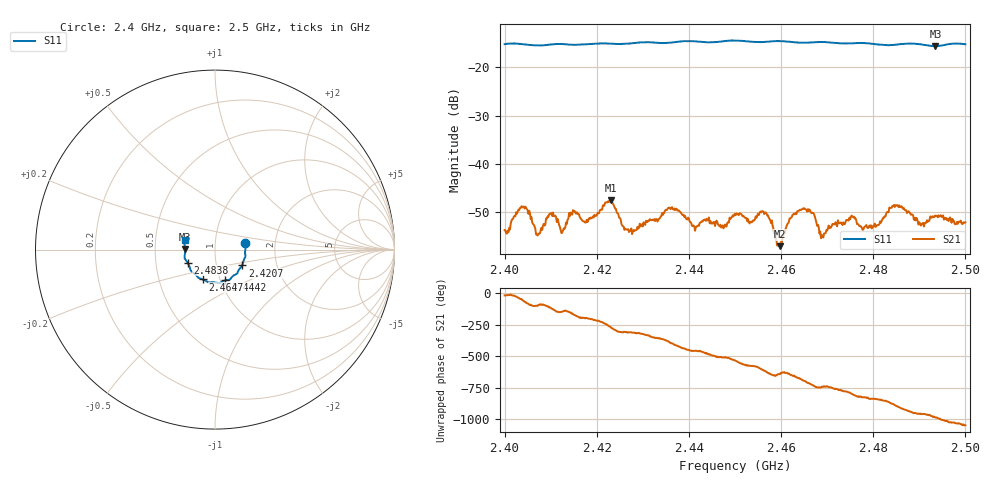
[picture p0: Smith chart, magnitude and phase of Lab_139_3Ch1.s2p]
# Hz S RI R 50
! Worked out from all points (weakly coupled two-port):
!   601 points, 2.4 GHz to 2.5 GHz, reference 50 ohm
!   highest |S21| = -47.58 dB at 2.423 GHz (marker M1); lowest = -57.1 dB at 2.4597 GHz (marker M2)
!   lowest |S11| = -15.6 dB at 2.4935 GHz (marker M3), VSWR 1.40, Z = 35.8 + j0.13 ohm
!   |S11| at or under -10 dB: start of sweep to end of sweep
!   S12 and S22 are empty: the file has one direction only
!   S11 on the Smith chart (normalised r, x): 2.4 GHz: 1.40, +0.11; 2.4207 GHz: 1.33, -0.24; 2.4442 GHz: 1.05, -0.37; 2.4647 GHz: 0.83, -0.29; 2.4838 GHz: 0.73, -0.11; 2.5 GHz: 0.71, +0.08
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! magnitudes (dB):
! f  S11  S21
! 2.4 GHz  -15.2  -53.7
! 2.404 GHz  -15.2  -48.8
! 2.4073 GHz  -15.5  -54.5
! 2.41 GHz  -15.3  -50.3
! 2.4125 GHz  -15.2  -54.2
! 2.4145 GHz  -15.3  -50.3
! 2.4167 GHz  -15.3  -51.5
! 2.4207 GHz  -15.1  -49.6
! 2.423 GHz  -15.1  -47.6
! 2.4265 GHz  -15.1  -53.6
! 2.4333 GHz  -15.0  -51.7
! 2.4442 GHz  -14.9  -51.6
! 2.45 GHz  -14.5  -50.4
! 2.4563 GHz  -14.8  -50.4
! 2.4597 GHz  -14.6  -57.1
! 2.4647 GHz  -14.9  -49.3
! 2.4667 GHz  -14.9  -50.2
! 2.4692 GHz  -14.8  -55.3
! 2.4833 GHz  -15.5  -50.1
! 2.4838 GHz  -15.4  -49.1
! 2.4935 GHz  -15.6  -50.7
! 2.5 GHz  -15.3  -52.1
